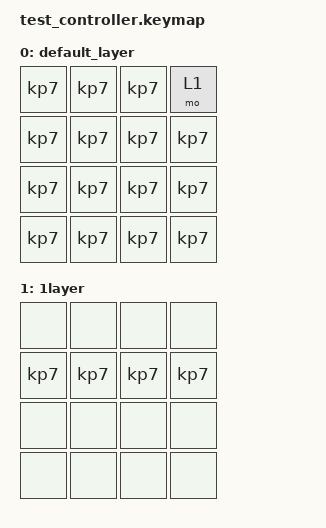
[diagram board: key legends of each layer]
#include <behaviors.dtsi>
#include <dt-bindings/zmk/keys.h>
#include <dt-bindings/zmk/bt.h>

/{
    keymap {
        compatible = "zmk,keymap";
        default_layer {
            bindings = <
                &kp KP_N7   &kp KP_N7   &kp KP_N7   &mo 1
                &kp KP_N7   &kp KP_N7   &kp KP_N7   &kp KP_N7
                &kp KP_N7   &kp KP_N7   &kp KP_N7   &kp KP_N7
                &kp KP_N7   &kp KP_N7   &kp KP_N7   &kp KP_N7
            >;
        };
    
        1layer {
            bindings = <
                &none       &none       &none       &none
                &kp KP_N7   &kp KP_N7   &kp KP_N7   &kp KP_N7
                &none       &none       &none       &none
                &none       &none       &none       &none
            >;
        };
    };           
};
